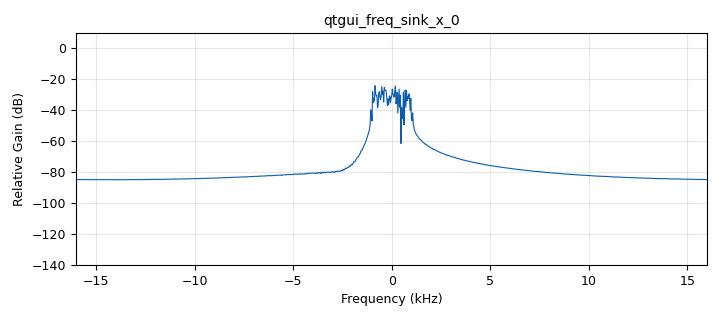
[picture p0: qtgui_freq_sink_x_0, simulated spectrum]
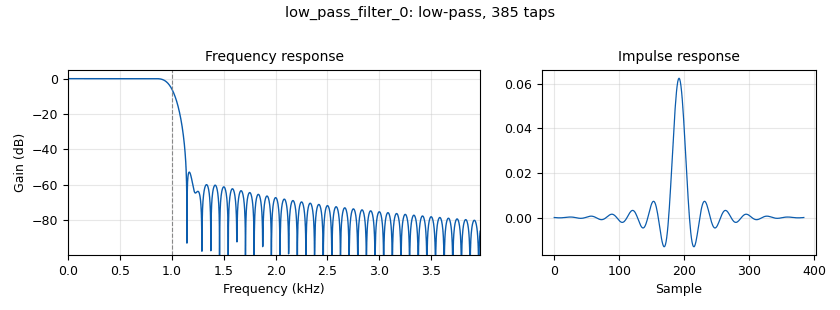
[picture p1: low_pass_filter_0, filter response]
options:
  parameters:
    author: yabool2001
    copyright: maciej.zemlo@gmail.pl
    description: https://wiki.gnuradio.org/index.php?title=Low_Pass_Filter_Example
    generate_options: qt_gui
    id: tuto_wikignuradio_lpf
    output_language: python
    title: Wiki Tuto GNU Radio Low Pass Filter Example
  states: {}

blocks:
- name: N
  id: variable
  parameters:
    value: '1024'
  states: {}
- name: f
  id: variable_qtgui_range
  parameters:
    label: frequency
    start: '-samp_rate/2'
    step: '1'
    stop: samp_rate/2
    value: '1000'
  states: {}
- name: f_cutoff
  id: variable
  parameters:
    value: '1000'
  states: {}
- name: n
  id: variable
  parameters:
    value: '1024'
  states: {}
- name: samp_rate
  id: variable
  parameters:
    value: '32000'
  states: {}
- name: trans_width
  id: variable
  parameters:
    value: '200'
  states: {}
- name: analog_fastnoise_source_x_0
  id: analog_fastnoise_source_x
  parameters:
    amp: '1'
    noise_type: analog.GR_GAUSSIAN
    samples: '8192'
    seed: '0'
    type: complex
  states: {}
- name: analog_sig_source_x_0_0
  id: analog_sig_source_x
  parameters:
    amp: '1'
    freq: f
    offset: '0'
    phase: '0'
    samp_rate: samp_rate
    type: complex
    waveform: analog.GR_COS_WAVE
  states: {state: disabled}
- name: blocks_throttle2_0
  id: blocks_throttle2
  parameters:
    samples_per_second: samp_rate
    type: complex
  states: {}
- name: blocks_vector_source_x_0
  id: blocks_vector_source_x
  parameters:
    repeat: 'True'
    type: complex
    vector: (N,)+(0,)*int(N-1)
  states: {state: disabled}
- name: low_pass_filter_0
  id: low_pass_filter
  parameters:
    cutoff_freq: f_cutoff
    decim: '1'
    gain: '1'
    samp_rate: samp_rate
    type: fir_filter_ccf
    width: trans_width
    win: window.WIN_HAMMING
  states: {}
- name: qtgui_freq_sink_x_0
  id: qtgui_freq_sink_x
  parameters:
    bw: samp_rate
    fc: '0'
    fftsize: '1024'
    type: complex
    wintype: window.WIN_RECTANGULAR
  states: {}

connections:
- [analog_fastnoise_source_x_0, '0', low_pass_filter_0, '0']
- [analog_sig_source_x_0_0, '0', low_pass_filter_0, '0']
- [blocks_throttle2_0, '0', qtgui_freq_sink_x_0, '0']
- [blocks_vector_source_x_0, '0', low_pass_filter_0, '0']
- [low_pass_filter_0, '0', blocks_throttle2_0, '0']

metadata:
  file_format: 1
  grc_version: 3.10.10.0
